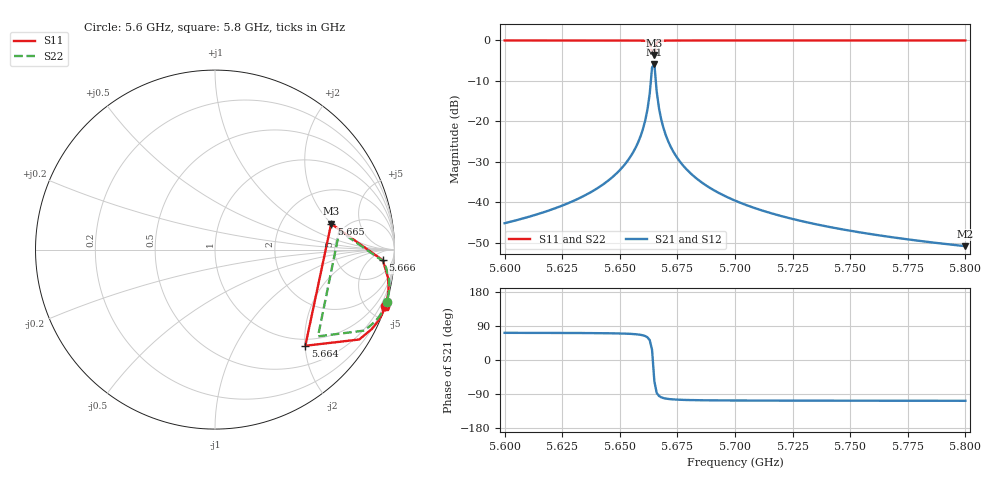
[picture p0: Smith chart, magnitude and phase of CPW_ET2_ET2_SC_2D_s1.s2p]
! Touchstone file exported from HFSS 2022.2.0
!  File:  //Mac/Home/Documents/Ansoft/CPW_ET2.aedt
!  Generated:  12:08:10 AM  Jan 26, 2023
!  Design:  ET2_SC_2D
!  Project:  CPW_ET2
!  Setup:  Setup1
!  Solution:  Sweep1
# GHz S MA R 50.000000
! Terminal data exported
! Port[1] = 1
! Port[2] = 2
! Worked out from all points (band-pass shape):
!   201 points, 5.6 GHz to 5.8 GHz, reference 50 ohm
!   highest |S21| = -5.86 dB at 5.665 GHz (marker M1); lowest = -50.9 dB at 5.8 GHz (marker M2)
!   |S21| within 3 dB of the highest: 5.66366 GHz to 5.665448 GHz (1.788 MHz wide, 0.0316 % of centre)
!   lowest |S11| = -3.6 dB at 5.665 GHz (marker M3), VSWR 4.94, Z = 193 + j99.2 ohm
!   |S11| at or under -10 dB: nowhere
!   |S22| runs from -3.1 to 0.0 dB; largest |S21 - S12| = 1.2e-15
!   S11 on the Smith chart (normalised r, x): 5.6 GHz: -0.00, -6.18; 5.664 GHz: 0.86, -2.01; 5.665 GHz: 3.86, +1.98; 5.666 GHz: 16, -15; 5.8 GHz: -0.00, -6.14
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5.6  1 -18.4  0.005505 71.7  0.005505 71.7  0.9999 -16.8
! Gamma 0.26553847131581 301.519222426277 0.252467761884939 299.562323960608
! Port Impedance 50 0 50 0
5.619  1 -18.6  0.007867 71.5  0.007867 71.5  0.9999 -17.0
5.634  0.9999 -18.9  0.01181 71.2  0.01181 71.2  0.9997 -17.3
5.647  0.9997 -19.5  0.02066 70.4  0.02066 70.4  0.9993 -17.8
5.652  0.9992 -20.0  0.02894 69.7  0.02894 69.7  0.9988 -18.2
5.656  0.9983 -20.8  0.04251 68.5  0.04251 68.5  0.9977 -19.0
5.659  0.9957 -22.3  0.06536 66.4  0.06536 66.4  0.9949 -20.2
5.661  0.9893 -24.5  0.1015 63.2  0.1015 63.2  0.9884 -22.1
5.662  0.9794 -26.9  0.1397 59.8  0.1397 59.8  0.9785 -24.1
5.663  0.9468 -31.9  0.2213 52.3  0.2213 52.3  0.9471 -28.4
5.664  0.7351 -46.8  0.4636 26.8  0.4636 26.8  0.7504 -40.1
5.665  0.663 12.6  0.5093 -56.3  0.5093 -56.3  0.7011 8.6
5.666  0.9374 -3.7  0.2357 -86.5  0.2357 -86.5  0.9461 -4.2
5.667  0.9763 -9.2  0.1458 -94.8  0.1458 -94.8  0.9805 -9.0
5.669  0.9925 -13.2  0.08175 -100.6  0.08175 -100.6  0.9944 -12.4
5.671  0.9963 -14.8  0.05667 -102.8  0.05667 -102.8  0.9976 -13.7
5.677  0.999 -16.5  0.02951 -105.2  0.02951 -105.2  0.9996 -15.2
5.687  0.9997 -17.3  0.01645 -106.3  0.01645 -106.3  1 -15.9
5.7  0.9999 -17.7  0.01048 -106.9  0.01048 -106.9  1 -16.3
5.734  1 -18.1  0.005428 -107.3  0.005428 -107.3  1 -16.7
5.767  1 -18.3  0.003732 -107.5  0.003732 -107.5  1 -16.8
5.8  1 -18.5  0.002863 -107.7  0.002863 -107.7  1 -17.0
